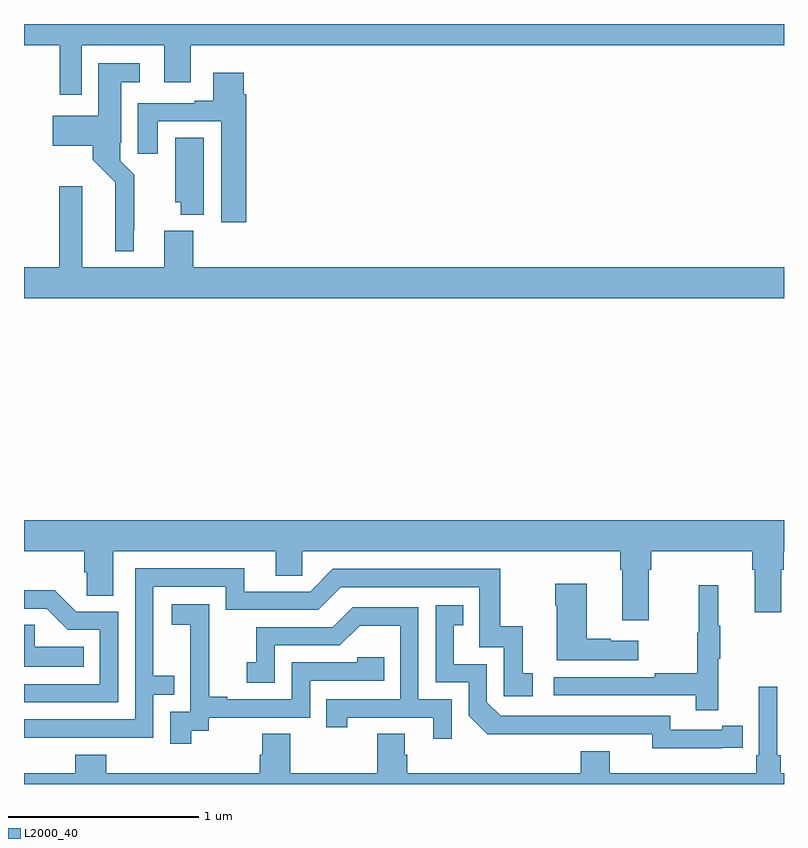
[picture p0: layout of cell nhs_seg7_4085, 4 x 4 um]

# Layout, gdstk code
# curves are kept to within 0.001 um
import gdstk
lib = gdstk.Library(unit=1e-6, precision=1e-09)
def P(c, l, *ps):  # polygons
    for p in ps: c.add(gdstk.Polygon(p, *l))
L2000_40 = (2000, 40)

nhs_seg7_4085 = lib.new_cell('nhs_seg7_4085')
P(nhs_seg7_4085, L2000_40, [(369.303,1061.888),(369.737,1061.888),(369.737,1061.694),(369.877,1061.694),(369.877,1061.888),(373,1061.888),(373,1062),(369,1062),(369,1061.888),(369.187,1061.888),(369.187,1061.628),(369.303,1061.628)],
  [(369.577,1060.915),(369.581,1060.915),(369.581,1061.206),(369.507,1061.28),(369.507,1061.374),(369.511,1061.374),(369.511,1061.693),(369.61,1061.693),(369.61,1061.794),(369.392,1061.794),(369.392,1061.518),(369.15,1061.518),(369.15,1061.36),(369.362,1061.36),(369.362,1061.286),(369.48,1061.168),(369.479,1060.805),(369.577,1060.805)],
  [(370.169,1061.63),(370.156,1061.63),(370.156,1061.743),(369.995,1061.743),(369.995,1061.596),(369.899,1061.596),(369.899,1061.583),(369.599,1061.583),(369.599,1061.316),(369.703,1061.316),(369.703,1061.487),(370.037,1061.487),(370.037,1060.956),(370.169,1060.956)],
  [(369.946,1061.402),(369.797,1061.402),(369.797,1061.061),(369.824,1061.061),(369.824,1060.997),(369.946,1060.997)],
  [(373,1060.72),(369.89,1060.72),(369.89,1060.912),(369.737,1060.912),(369.737,1060.72),(369.307,1060.72),(369.307,1061.146),(369.185,1061.146),(369.185,1060.72),(369,1060.72),(369,1060.556),(373,1060.556)],
  [(372.289,1059.128),(372.302,1059.128),(372.302,1059.224),(372.833,1059.224),(372.833,1059.128),(372.845,1059.128),(372.845,1058.904),(372.985,1058.904),(372.985,1059.128),(372.998,1059.128),(372.998,1059.224),(373,1059.224),(373,1059.388),(369,1059.388),(369,1059.224),(369.317,1059.224),(369.317,1059.115),(369.33,1059.115),(369.33,1058.992),(369.469,1058.992),(369.469,1059.224),(370.325,1059.224),(370.325,1059.097),(370.464,1059.097),(370.464,1059.224),(372.137,1059.224),(372.137,1059.128),(372.149,1059.128),(372.149,1058.862),(372.289,1058.862)],
  [(369.185,1058.244),(369.681,1058.244),(369.681,1058.469),(369.791,1058.469),(369.791,1058.57),(369.681,1058.57),(369.681,1059.039),(370.062,1059.039),(370.062,1058.916),(370.548,1058.916),(370.668,1059.036),(371.397,1059.036),(371.397,1058.721),(371.526,1058.721),(371.526,1058.463),(371.677,1058.463),(371.677,1058.583),(371.624,1058.583),(371.624,1058.83),(371.506,1058.83),(371.506,1059.132),(370.626,1059.132),(370.506,1059.012),(370.159,1059.012),(370.159,1059.135),(369.585,1059.135),(369.585,1058.34),(369,1058.34),(369,1058.243)],
  [(372.232,1058.755),(372.089,1058.755),(372.089,1058.765),(371.962,1058.765),(371.962,1059.055),(371.797,1059.055),(371.797,1058.942),(371.804,1058.942),(371.804,1058.651),(372.232,1058.651)],
  [(372.653,1058.659),(372.664,1058.659),(372.664,1058.833),(372.653,1058.833),(372.653,1059.046),(372.55,1059.046),(372.55,1058.796),(372.543,1058.796),(372.543,1058.582),(372.319,1058.582),(372.319,1058.562),(371.787,1058.562),(371.787,1058.466),(372.535,1058.466),(372.535,1058.388),(372.653,1058.388)],
  [(369.495,1058.907),(369.276,1058.907),(369.163,1059.02),(369,1059.02),(369,1058.922),(369.119,1058.922),(369.23,1058.811),(369.399,1058.811),(369.399,1058.526),(369,1058.526),(369,1058.43),(369.495,1058.43)],
  [(369.88,1058.281),(369.972,1058.281),(369.972,1058.349),(370.506,1058.349),(370.506,1058.544),(370.895,1058.544),(370.895,1058.667),(370.755,1058.667),(370.755,1058.64),(370.41,1058.64),(370.41,1058.445),(370.069,1058.445),(370.069,1058.458),(369.974,1058.458),(369.974,1058.741),(369.975,1058.741),(369.975,1058.947),(369.777,1058.947),(369.777,1058.837),(369.875,1058.837),(369.875,1058.609),(369.876,1058.609),(369.876,1058.379),(369.771,1058.379),(369.771,1058.211),(369.88,1058.211)],
  [(372.674,1058.19),(372.782,1058.19),(372.782,1058.306),(372.674,1058.306),(372.674,1058.286),(372.402,1058.286),(372.402,1058.358),(371.508,1058.358),(371.436,1058.43),(371.436,1058.631),(371.263,1058.631),(371.263,1058.835),(371.312,1058.835),(371.312,1058.941),(371.166,1058.941),(371.166,1058.535),(371.34,1058.535),(371.34,1058.358),(371.438,1058.261),(372.306,1058.262),(372.306,1058.189)],
  [(371.25,1058.445),(371.076,1058.445),(371.076,1058.931),(370.73,1058.931),(370.625,1058.826),(370.222,1058.826),(370.222,1058.641),(370.173,1058.641),(370.173,1058.532),(370.32,1058.532),(370.32,1058.73),(370.662,1058.73),(370.766,1058.834),(370.98,1058.834),(370.98,1058.445),(370.591,1058.445),(370.591,1058.298),(370.702,1058.298),(370.702,1058.349),(371.153,1058.349),(371.153,1058.238),(371.25,1058.238)],
  [(369.314,1058.722),(369.057,1058.722),(369.057,1058.837),(369,1058.837),(369,1058.618),(369.314,1058.618)],
  [(373,1058.056),(372.983,1058.056),(372.983,1058.152),(372.964,1058.152),(372.964,1058.512),(372.867,1058.512),(372.867,1058.152),(372.854,1058.152),(372.854,1058.056),(372.082,1058.056),(372.082,1058.173),(371.93,1058.173),(371.93,1058.056),(371.018,1058.056),(371.018,1058.154),(371.005,1058.154),(371.005,1058.264),(370.858,1058.264),(370.858,1058.056),(370.401,1058.056),(370.401,1058.264),(370.253,1058.264),(370.253,1058.154),(370.241,1058.154),(370.241,1058.056),(369.434,1058.056),(369.434,1058.155),(369.269,1058.155),(369.269,1058.056),(369,1058.056),(369,1058),(373,1058)])

lib.write_gds('nhs_seg7_4085.gds')
